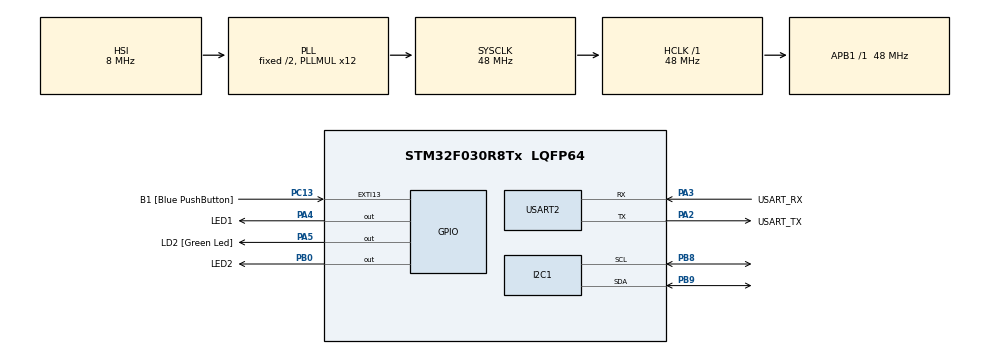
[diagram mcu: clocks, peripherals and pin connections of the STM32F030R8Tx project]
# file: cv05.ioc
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Dma.Request0=USART2_RX
Dma.USART2_RX.0.Direction=DMA_PERIPH_TO_MEMORY
Dma.USART2_RX.0.Instance=DMA1_Channel5
Dma.USART2_RX.0.MemDataAlignment=DMA_MDATAALIGN_BYTE
Dma.USART2_RX.0.MemInc=DMA_MINC_ENABLE
Dma.USART2_RX.0.Mode=DMA_NORMAL
Dma.USART2_RX.0.PeriphDataAlignment=DMA_PDATAALIGN_BYTE
Dma.USART2_RX.0.PeriphInc=DMA_PINC_DISABLE
Dma.USART2_RX.0.Priority=DMA_PRIORITY_LOW
Mcu.Family=STM32F0
Mcu.Name=STM32F030R8Tx
Mcu.Package=LQFP64
NVIC.DMA1_Channel4_5_IRQn=true\:0\:0\:false\:false\:true\:false\:true\:true
PA13.GPIO_Label=TMS
PA13.Mode=Serial_Wire
PA13.Signal=SYS_SWDIO
PA14.GPIO_Label=TCK
PA14.Mode=Serial_Wire
PA14.Signal=SYS_SWCLK
PA2.GPIO_Label=USART_TX
PA2.GPIO_Mode=GPIO_MODE_AF_PP
PA2.GPIO_PuPd=GPIO_NOPULL
PA2.GPIO_Speed=GPIO_SPEED_FREQ_LOW
PA2.Mode=Asynchronous
PA2.Signal=USART2_TX
PA3.GPIO_Label=USART_RX
PA3.GPIO_Mode=GPIO_MODE_AF_PP
PA3.GPIO_PuPd=GPIO_NOPULL
PA3.GPIO_Speed=GPIO_SPEED_FREQ_LOW
PA3.Mode=Asynchronous
PA3.Signal=USART2_RX
PA4.GPIO_Label=LED1
PA4.Signal=GPIO_Output
PA5.GPIO_Label=LD2 [Green Led]
PA5.GPIO_Mode=GPIO_MODE_OUTPUT_PP
PA5.GPIO_PuPd=GPIO_NOPULL
PA5.GPIO_Speed=GPIO_SPEED_FREQ_LOW
PA5.Signal=GPIO_Output
PB0.GPIO_Label=LED2
PB0.Signal=GPIO_Output
PB8.Mode=I2C
PB8.Signal=I2C1_SCL
PB9.Mode=I2C
PB9.Signal=I2C1_SDA
PC13.GPIO_Label=B1 [Blue PushButton]
PC13.GPIO_ModeDefaultEXTI=GPIO_MODE_IT_FALLING
PC13.Signal=GPXTI13
PC14-OSC32_IN.Mode=LSE-External-Oscillator
PC14-OSC32_IN.Signal=RCC_OSC32_IN
PC15-OSC32_OUT.Mode=LSE-External-Oscillator
PC15-OSC32_OUT.Signal=RCC_OSC32_OUT
PF0-OSC_IN.Mode=HSE-External-Clock-Source
PF0-OSC_IN.Signal=RCC_OSC_IN
PF1-OSC_OUT.Signal=RCC_OSC_OUT
ProjectManager.HeapSize=0x200
ProjectManager.StackSize=0x400
ProjectManager.TargetToolchain=STM32CubeIDE
RCC.AHBFreq_Value=48000000
RCC.APB1Freq_Value=48000000
RCC.APB1TimFreq_Value=48000000
RCC.HCLKFreq_Value=48000000
RCC.PLLMUL=RCC_PLL_MUL12
RCC.SYSCLKFreq_VALUE=48000000
RCC.SYSCLKSource=RCC_SYSCLKSOURCE_PLLCLK
USART2.VirtualMode-Asynchronous=VM_ASYNC
board=NUCLEO-F030R8

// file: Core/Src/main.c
/* USER CODE BEGIN Header */
/**
  ******************************************************************************
  * @file           : main.c
  * @brief          : Main program body
  ******************************************************************************
  * @attention
  *
  * Copyright (c) 2022 STMicroelectronics.
  * All rights reserved.
  *
  * This software is licensed under terms that can be found in the LICENSE file
  * in the root directory of this software component.
  * If no LICENSE file comes with this software, it is provided AS-IS.
  *
  ******************************************************************************
  */
/* USER CODE END Header */
#include "main.h"

/* USER CODE BEGIN Includes */
#include "stdio.h"
#include "string.h"
#include "stdlib.h"
/* USER CODE END Includes */

/* USER CODE BEGIN PD */
#define RX_BUFFER_LEN 64
#define CMD_BUFFER_LEN 256
#define uart_rx_write_ptr (RX_BUFFER_LEN - hdma_usart2_rx.Instance->CNDTR)
#define EEPROM_ADDR 0xA0
/* USER CODE END PD */

I2C_HandleTypeDef hi2c1;

UART_HandleTypeDef huart2;
DMA_HandleTypeDef hdma_usart2_rx;

/* USER CODE BEGIN PV */
static uint8_t uart_rx_buf[RX_BUFFER_LEN];
static volatile uint16_t uart_rx_read_ptr = 0;
/* USER CODE END PV */

void SystemClock_Config(void);
static void MX_GPIO_Init(void);
static void MX_DMA_Init(void);
static void MX_USART2_UART_Init(void);
static void MX_I2C1_Init(void);

/* USER CODE BEGIN 0 */
int _write(int file, char const *buf, int n) {
	/* stdout redirection to UART2 */
	HAL_UART_Transmit(&huart2, (uint8_t*) (buf), n, HAL_MAX_DELAY);
	return n;
}

void uart_process_command (char* cmd) {
	/*printf("Received: '%s'\n", cmd);*/
	char *token;
	token = strtok(cmd, " ");

	if (strcasecmp(token, "HELLO") == 0) {
		printf("Cau Cau :-)\n");
	}

	/*LED1 control*/
	else if (strcasecmp(token, "LED1") == 0) {
		token = strtok(NULL, " ");
		if (strcasecmp(token, "ON") == 0) {
			HAL_GPIO_WritePin(LED1_GPIO_Port, LED1_Pin, GPIO_PIN_SET);
		} else if (strcasecmp(token, "OFF") == 0) {
			HAL_GPIO_WritePin(LED1_GPIO_Port, LED1_Pin, GPIO_PIN_RESET);
		}
		printf("OK\n");
	}

	/*LED2 control*/
	else if (strcasecmp(token, "LED2") == 0) {
		token = strtok(NULL, " ");
		if (strcasecmp(token, "ON") == 0) {
			HAL_GPIO_WritePin(LED2_GPIO_Port, LED2_Pin, GPIO_PIN_SET);
		} else if (strcasecmp(token, "OFF") == 0) {
			HAL_GPIO_WritePin(LED2_GPIO_Port, LED2_Pin, GPIO_PIN_RESET);
		}
		printf("OK\n");
	}
/*LED1 and LED2 status*/
	else if (strcasecmp(token, "STATUS") == 0) {
		token = strtok(NULL, " ");
		uint8_t state_led;

		state_led = HAL_GPIO_ReadPin(LED1_GPIO_Port, LED1_Pin);
		if (state_led != 0) {
			printf("LED1 IS ON\n");
		} else {
			printf("LED1 IS OFF\n");
		}

		state_led = HAL_GPIO_ReadPin(LED2_GPIO_Port, LED2_Pin);
		if (state_led != 0) {
			printf("LED2 IS ON\n");
		} else {
			printf("LED2 IS OFF\n");
		}
	}

/*EEPROM - READ*/
	else if (strcasecmp(token, "READ") == 0) {
		token = strtok(NULL, " ");
		uint32_t addr;
		uint32_t value;

		addr = atoi(token); // string format to int
		HAL_I2C_Mem_Read(&hi2c1, EEPROM_ADDR, addr, I2C_MEMADD_SIZE_16BIT,
				&value, 1, 1000);
		printf("Address: 0x%04x Value: 0x%02x\n", addr, value);
	}

/*EEPROM - WRITE*/
	else if (strcasecmp(token, "WRITE") == 0) {
		token = strtok(NULL, " ");
		uint32_t addr;
		uint32_t value;
		addr = atoi(token); // string format to int

		token = strtok(NULL, " ");
		value = atoi(token);

		HAL_I2C_Mem_Write(&hi2c1, EEPROM_ADDR, addr, I2C_MEMADD_SIZE_16BIT,
				&value, 1, 1000);
		/* Check if the EEPROM is ready for a new operation */
		while (HAL_I2C_IsDeviceReady(&hi2c1, EEPROM_ADDR, 300, 1000)
				== HAL_TIMEOUT) {
		}
		printf("OK\n");
	}

/*EEPROM - DUMB*/
	else if (strcasecmp(token, "DUMB") == 0) {
		uint8_t valueDump[16];
		HAL_I2C_Mem_Read(&hi2c1, EEPROM_ADDR, 0, I2C_MEMADD_SIZE_16BIT,
				valueDump, 16, 1000);
		for (int i = 0; i < 16; i++) {
			printf("%02x", valueDump[i]);
			if ((i % 8) == 7) {
				printf("\n");
			}
		}
	} else {
		printf("Neznam\n");
	}
}

void uart_byte_available(uint8_t c) {
	static uint8_t cnt;
	static char data[CMD_BUFFER_LEN];

	if (cnt < CMD_BUFFER_LEN && c >= 32 && c <= 126) data[cnt++] = c;
	if ((c == '\n' || c == '\r') && cnt > 0) {
		data[cnt] = '\0';
		uart_process_command(data);
		cnt = 0;
	}
}

/* USER CODE END 0 */

int main(void)
{

  /* MCU Configuration--------------------------------------------------------*/

  /* Reset of all peripherals, Initializes the Flash interface and the Systick. */
  HAL_Init();

  /* Configure the system clock */
  SystemClock_Config();

  /* Initialize all configured peripherals */
  MX_GPIO_Init();
  MX_DMA_Init();
  MX_USART2_UART_Init();
  MX_I2C1_Init();
  /* USER CODE BEGIN 2 */
  HAL_UART_Receive_DMA(&huart2, uart_rx_buf, RX_BUFFER_LEN);

  /* USER CODE END 2 */

  /* Infinite loop */
  /* USER CODE BEGIN WHILE */
	while (1) {

		while (uart_rx_read_ptr != uart_rx_write_ptr) {
			uint8_t b = uart_rx_buf[uart_rx_read_ptr];
			if (++uart_rx_read_ptr >= RX_BUFFER_LEN) uart_rx_read_ptr = 0; // increase read pointer

			uart_byte_available(b); // process every received byte with the RX state machine
		}

    /* USER CODE END WHILE */

	}
}

void SystemClock_Config(void)
{
  RCC_OscInitTypeDef RCC_OscInitStruct = {0};
  RCC_ClkInitTypeDef RCC_ClkInitStruct = {0};
  RCC_PeriphCLKInitTypeDef PeriphClkInit = {0};

  /** Initializes the RCC Oscillators according to the specified parameters
  * in the RCC_OscInitTypeDef structure.
  */
  RCC_OscInitStruct.OscillatorType = RCC_OSCILLATORTYPE_HSI;
  RCC_OscInitStruct.HSIState = RCC_HSI_ON;
  RCC_OscInitStruct.HSICalibrationValue = RCC_HSICALIBRATION_DEFAULT;
  RCC_OscInitStruct.PLL.PLLState = RCC_PLL_ON;
  RCC_OscInitStruct.PLL.PLLSource = RCC_PLLSOURCE_HSI;
  RCC_OscInitStruct.PLL.PLLMUL = RCC_PLL_MUL12;
  RCC_OscInitStruct.PLL.PREDIV = RCC_PREDIV_DIV1;
  if (HAL_RCC_OscConfig(&RCC_OscInitStruct) != HAL_OK)
  {
    Error_Handler();
  }

  /** Initializes the CPU, AHB and APB buses clocks
  */
  RCC_ClkInitStruct.ClockType = RCC_CLOCKTYPE_HCLK|RCC_CLOCKTYPE_SYSCLK
                              |RCC_CLOCKTYPE_PCLK1;
  RCC_ClkInitStruct.SYSCLKSource = RCC_SYSCLKSOURCE_PLLCLK;
  RCC_ClkInitStruct.AHBCLKDivider = RCC_SYSCLK_DIV1;
  RCC_ClkInitStruct.APB1CLKDivider = RCC_HCLK_DIV1;

  if (HAL_RCC_ClockConfig(&RCC_ClkInitStruct, FLASH_LATENCY_1) != HAL_OK)
  {
    Error_Handler();
  }
  PeriphClkInit.PeriphClockSelection = RCC_PERIPHCLK_I2C1;
  PeriphClkInit.I2c1ClockSelection = RCC_I2C1CLKSOURCE_HSI;
  if (HAL_RCCEx_PeriphCLKConfig(&PeriphClkInit) != HAL_OK)
  {
    Error_Handler();
  }
}

static void MX_I2C1_Init(void)
{

  hi2c1.Instance = I2C1;
  hi2c1.Init.Timing = 0x2000090E;
  hi2c1.Init.OwnAddress1 = 0;
  hi2c1.Init.AddressingMode = I2C_ADDRESSINGMODE_7BIT;
  hi2c1.Init.DualAddressMode = I2C_DUALADDRESS_DISABLE;
  hi2c1.Init.OwnAddress2 = 0;
  hi2c1.Init.OwnAddress2Masks = I2C_OA2_NOMASK;
  hi2c1.Init.GeneralCallMode = I2C_GENERALCALL_DISABLE;
  hi2c1.Init.NoStretchMode = I2C_NOSTRETCH_DISABLE;
  if (HAL_I2C_Init(&hi2c1) != HAL_OK)
  {
    Error_Handler();
  }

  /** Configure Analogue filter
  */
  if (HAL_I2CEx_ConfigAnalogFilter(&hi2c1, I2C_ANALOGFILTER_ENABLE) != HAL_OK)
  {
    Error_Handler();
  }

  /** Configure Digital filter
  */
  if (HAL_I2CEx_ConfigDigitalFilter(&hi2c1, 0) != HAL_OK)
  {
    Error_Handler();
  }

}

static void MX_USART2_UART_Init(void)
{

  huart2.Instance = USART2;
  huart2.Init.BaudRate = 38400;
  huart2.Init.WordLength = UART_WORDLENGTH_8B;
  huart2.Init.StopBits = UART_STOPBITS_1;
  huart2.Init.Parity = UART_PARITY_NONE;
  huart2.Init.Mode = UART_MODE_TX_RX;
  huart2.Init.HwFlowCtl = UART_HWCONTROL_NONE;
  huart2.Init.OverSampling = UART_OVERSAMPLING_16;
  huart2.Init.OneBitSampling = UART_ONE_BIT_SAMPLE_DISABLE;
  huart2.AdvancedInit.AdvFeatureInit = UART_ADVFEATURE_NO_INIT;
  if (HAL_UART_Init(&huart2) != HAL_OK)
  {
    Error_Handler();
  }

}

static void MX_DMA_Init(void)
{

  /* DMA controller clock enable */
  __HAL_RCC_DMA1_CLK_ENABLE();

  /* DMA interrupt init */
  /* DMA1_Channel4_5_IRQn interrupt configuration */
  HAL_NVIC_SetPriority(DMA1_Channel4_5_IRQn, 0, 0);
  HAL_NVIC_EnableIRQ(DMA1_Channel4_5_IRQn);

}

static void MX_GPIO_Init(void)
{
  GPIO_InitTypeDef GPIO_InitStruct = {0};

  /* GPIO Ports Clock Enable */
  __HAL_RCC_GPIOC_CLK_ENABLE();
  __HAL_RCC_GPIOF_CLK_ENABLE();
  __HAL_RCC_GPIOA_CLK_ENABLE();
  __HAL_RCC_GPIOB_CLK_ENABLE();

  /*Configure GPIO pin Output Level */
  HAL_GPIO_WritePin(GPIOA, GPIO_PIN_4|GPIO_PIN_5, GPIO_PIN_RESET);

  /*Configure GPIO pin Output Level */
  HAL_GPIO_WritePin(GPIOB, GPIO_PIN_0, GPIO_PIN_RESET);

  /*Configure GPIO pin : PC13 */
  GPIO_InitStruct.Pin = GPIO_PIN_13;
  GPIO_InitStruct.Mode = GPIO_MODE_IT_FALLING;
  GPIO_InitStruct.Pull = GPIO_NOPULL;
  HAL_GPIO_Init(GPIOC, &GPIO_InitStruct);

  /*Configure GPIO pins : PA4 PA5 */
  GPIO_InitStruct.Pin = GPIO_PIN_4|GPIO_PIN_5;
  GPIO_InitStruct.Mode = GPIO_MODE_OUTPUT_PP;
  GPIO_InitStruct.Pull = GPIO_NOPULL;
  GPIO_InitStruct.Speed = GPIO_SPEED_FREQ_LOW;
  HAL_GPIO_Init(GPIOA, &GPIO_InitStruct);

  /*Configure GPIO pin : PB0 */
  GPIO_InitStruct.Pin = GPIO_PIN_0;
  GPIO_InitStruct.Mode = GPIO_MODE_OUTPUT_PP;
  GPIO_InitStruct.Pull = GPIO_NOPULL;
  GPIO_InitStruct.Speed = GPIO_SPEED_FREQ_LOW;
  HAL_GPIO_Init(GPIOB, &GPIO_InitStruct);

}

void Error_Handler(void)
{
  __disable_irq();
  while (1)
  {
  }
}
